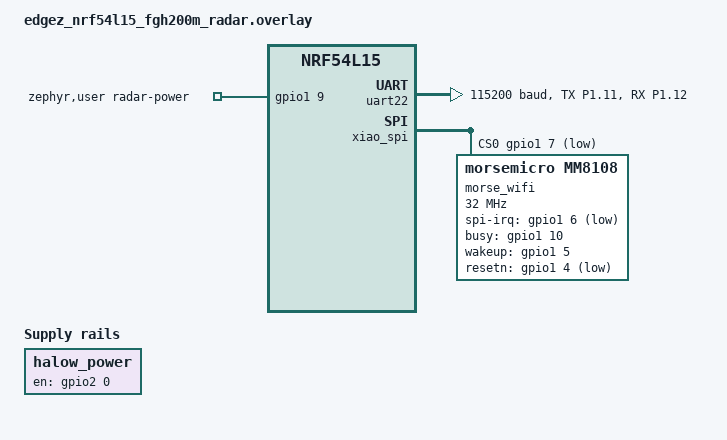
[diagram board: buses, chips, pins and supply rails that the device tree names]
/*
 * EdgeZ nRF54L15 + FGH200M (MM8108) carrier with an IWRL6432 radar.
 *
 * HaLow wiring, from template-offgrid-tracker
 * (firmware/zephyr/boards/edgez_nrf54l15_fgh200m_companion.overlay):
 *   HaLow power       -> P2.00
 *   CS/SCK/MISO/MOSI  -> P1.07/P2.01/P2.04/P2.02
 *   IRQ/BUSY/WAKE/RESETn -> P1.06/P1.10/P1.05/P1.04
 *
 * Radar wiring -- ASSUMED, CHANGE TO MATCH YOUR BOARD. The defaults reuse the
 * carrier's GPS connector:
 *   nRF P1.11 (UART TX) -> radar RS232_RX   (CLI UART)
 *   nRF P1.12 (UART RX) <- radar RS232_TX
 *   nRF P1.09           -> enable of the radar's 3.3 V supply (high = on)
 * Common ground. The radar's NRESET is not connected. Supply enable is
 * raised once on startup and stays high across UART retries.
 *
 * The radar's boot mode is selected by the SOP0/SOP1 switches on the radar
 * board: flashing = SOP0 off, SOP1 off; functional = SOP0 on, SOP1 off. The
 * radar is flashed separately over USB; select functional mode for nRF use.
 */

/ {
	aliases {
		radar-uart = &uart22;
	};

	zephyr,user {
		/* Active = radar 3.3 V supply on. */
		radar-power-gpios = <&gpio1 9 GPIO_ACTIVE_HIGH>;
	};

	/* MM8108 supply switch: on before the Wi-Fi driver initialises. */
	halow_power: halow-power {
		compatible = "regulator-fixed";
		regulator-name = "halow-power";
		enable-gpios = <&gpio2 0 GPIO_ACTIVE_HIGH>;
		regulator-boot-on;
		startup-delay-us = <500000>;
	};
};

/* The stock XIAO LED occupies the HaLow power-enable pin. */
&led0 {
	status = "disabled";
};

/* XIAO peripherals that are not populated or not used on this carrier. */
&lsm6ds3tr_c {
	status = "disabled";
};

&pdm20 {
	status = "disabled";
};

&rfsw_ctl {
	status = "disabled";
};

&rfsw_pwr {
	status = "disabled";
};

&vbat_pwr {
	status = "disabled";
};

/* P1.08 is the carrier's key, so the default UART20 pins cannot be used, and
 * UART21 is not routed. Logs go to SEGGER RTT. */
&uart20 {
	status = "disabled";
};

&uart21 {
	status = "disabled";
};

/ {
	chosen {
		/delete-property/ zephyr,console;
		/delete-property/ zephyr,shell-uart;
		/delete-property/ nordic,rpc-uart;
	};
};

&pinctrl {
	radar_uart_default: radar_uart_default {
		group1 {
			psels = <NRF_PSEL(UART_TX, 1, 11)>;
		};

		group2 {
			psels = <NRF_PSEL(UART_RX, 1, 12)>;
			bias-pull-up;
		};
	};

	radar_uart_sleep: radar_uart_sleep {
		group1 {
			psels = <NRF_PSEL(UART_TX, 1, 11)>,
				<NRF_PSEL(UART_RX, 1, 12)>;
			low-power-enable;
		};
	};
};

/* UART22 and I2C22 are alternate modes of the same serial peripheral. */
/delete-node/ &i2c22;

&uart22 {
	status = "okay";
	current-speed = <115200>;
	pinctrl-0 = <&radar_uart_default>;
	pinctrl-1 = <&radar_uart_sleep>;
	pinctrl-names = "default", "sleep";
};

&spi00_default {
	group1 {
		psels = <NRF_PSEL(SPIM_SCK, 2, 1)>,
			<NRF_PSEL(SPIM_MISO, 2, 4)>,
			<NRF_PSEL(SPIM_MOSI, 2, 2)>;
	};
};

&spi00_sleep {
	group1 {
		psels = <NRF_PSEL(SPIM_SCK, 2, 1)>,
			<NRF_PSEL(SPIM_MISO, 2, 4)>,
			<NRF_PSEL(SPIM_MOSI, 2, 2)>;
		low-power-enable;
	};
};

&xiao_spi {
	status = "okay";
	cs-gpios = <&gpio1 7 GPIO_ACTIVE_LOW>;
	pinctrl-0 = <&spi00_default>;
	pinctrl-1 = <&spi00_sleep>;
	pinctrl-names = "default", "sleep";

	morse_wifi: morse@0 {
		status = "okay";
		compatible = "morsemicro,mm8108";
		/* Standard MM8108 MF15457 board configuration, as used by the
		 * tracker template until a FGH200M-specific file is available. */
		bcf = "bcf_mf15457.mbin";
		spi-max-frequency = <32000000>;
		reg = <0>;

		spi-irq-gpios = <&gpio1 6 GPIO_ACTIVE_LOW>;
		/* BUSY and WAKE are required for DTIM power save. */
		busy-gpios = <&gpio1 10 (GPIO_ACTIVE_HIGH | GPIO_PULL_DOWN)>;
		wakeup-gpios = <&gpio1 5 GPIO_ACTIVE_HIGH>;
		resetn-gpios = <&gpio1 4 GPIO_ACTIVE_LOW>;
	};
};
